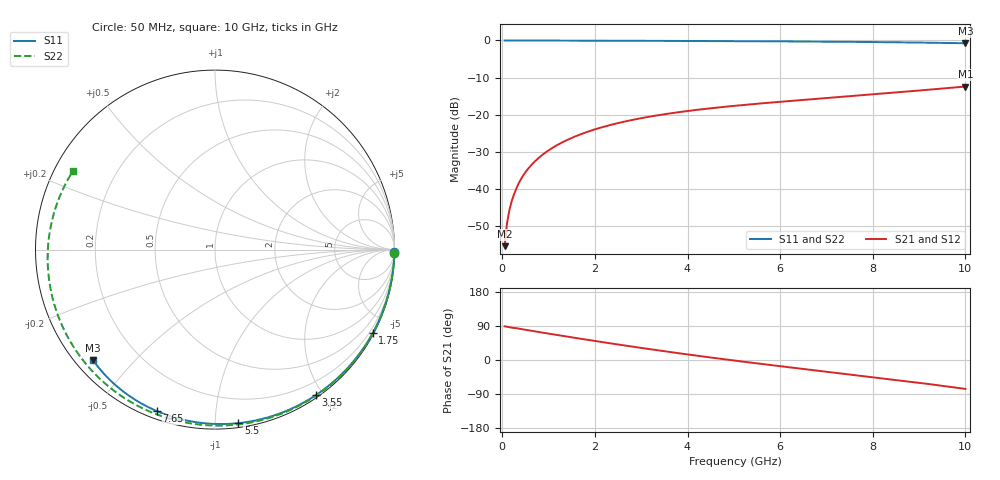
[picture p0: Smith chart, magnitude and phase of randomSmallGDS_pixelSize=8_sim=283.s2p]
! freq	dB(S11)	phase(S11)	dB(S12)	phase(S12)
!  dB(S21)	phase(S21)	dB(S22)	phase(S22)
!S-par simulation data
#  GHz  S  DB  R 50
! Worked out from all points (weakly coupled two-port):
!   200 points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, 50 MHz to 10 GHz, reference 50 ohm
!   highest |S21| = -12.42 dB at 10 GHz (marker M1); lowest = -55.4 dB at 50 MHz (marker M2)
!   lowest |S11| = -0.7 dB at 10 GHz (marker M3), VSWR 23.18, Z = 2.48 - j19.3 ohm
!   |S11| at or under -10 dB: nowhere
!   |S22| runs from -0.9 to 0.0 dB; largest |S21 - S12| = 0
!   S11 on the Smith chart (normalised r, x): 50 MHz: open; 1.75 GHz: 0.05, -4.02; 3.55 GHz: 0.03, -1.91; 5.5 GHz: 0.03, -1.14; 7.65 GHz: 0.03, -0.70; 10 GHz: 0.05, -0.39
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0.05  -0.00 -0.8  -55.43 88.9  -55.43 88.9  -0.00 -1.2
0.1  -0.00 -1.6  -49.41 87.8  -49.41 87.8  -0.00 -2.5
0.15  -0.00 -2.4  -45.89 86.6  -45.89 86.6  -0.00 -3.7
0.2  -0.00 -3.3  -43.42 85.3  -43.42 85.3  -0.01 -4.9
0.35  -0.01 -5.7  -38.60 83.0  -38.60 83.0  -0.01 -8.5
0.5  -0.01 -8.1  -35.51 79.8  -35.51 79.8  -0.02 -12.1
0.7  -0.02 -11.3  -32.63 75.6  -32.63 75.6  -0.02 -17.0
1  -0.02 -16.1  -29.61 69.6  -29.61 69.6  -0.03 -24.2
1.35  -0.03 -21.7  -27.12 62.7  -27.12 62.7  -0.05 -32.4
1.75  -0.05 -27.9  -25.01 55.0  -25.01 55.0  -0.07 -41.8
2.6  -0.08 -41.0  -21.97 39.1  -21.97 39.1  -0.10 -61.0
3.4  -0.11 -53.0  -20.08 24.9  -20.08 24.9  -0.14 -78.2
3.55  -0.12 -55.2  -19.79 22.3  -19.79 22.3  -0.15 -81.4
4.3  -0.15 -65.9  -18.55 9.8  -18.55 9.8  -0.19 -96.7
5.05  -0.19 -76.3  -17.57 -2.1  -17.57 -2.1  -0.24 -111.5
5.5  -0.21 -82.4  -17.06 -8.9  -17.06 -8.9  -0.27 -120.1
6.1  -0.25 -90.2  -16.43 -17.8  -16.43 -17.8  -0.32 -131.4
6.7  -0.30 -97.9  -15.83 -26.5  -15.83 -26.5  -0.37 -142.7
7.65  -0.39 -109.8  -14.89 -40.2  -14.89 -40.2  -0.48 -160.6
8.35  -0.47 -118.2  -14.18 -50.4  -14.18 -50.4  -0.57 -174.2
9.2  -0.60 -128.4  -13.28 -63.3  -13.28 -63.3  -0.71 168.4
10  -0.75 -137.8  -12.42 -76.3  -12.42 -76.3  -0.87 150.9
